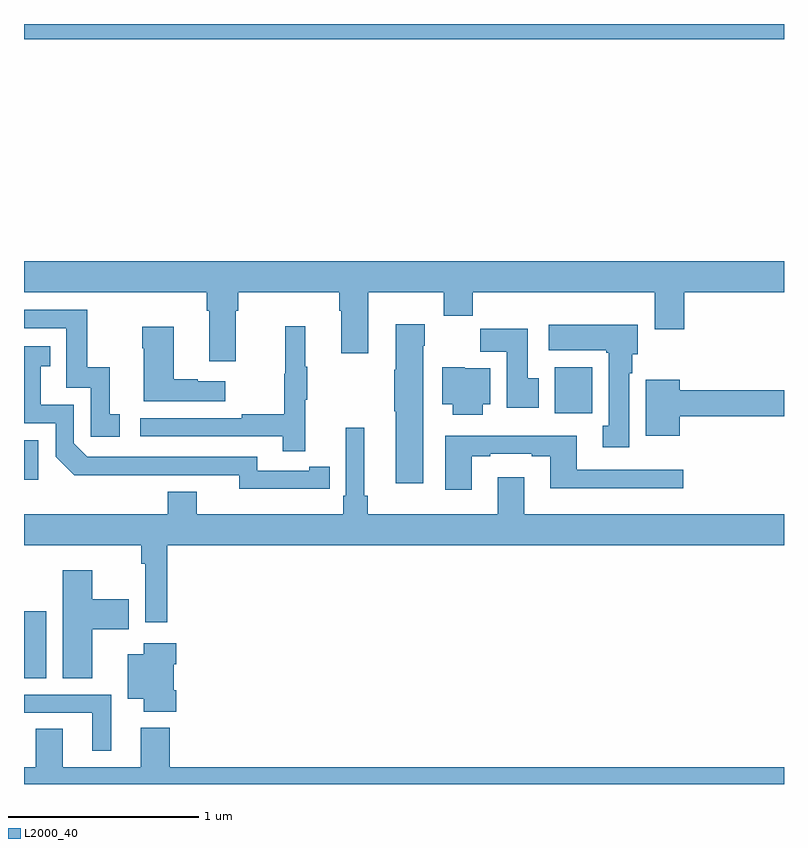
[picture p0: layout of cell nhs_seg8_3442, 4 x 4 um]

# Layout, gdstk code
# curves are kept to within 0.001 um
import gdstk
lib = gdstk.Library(unit=1e-6, precision=1e-09)
def R(c, l, rs):  # rectangles x0, y0, x1, y1
    for r in rs: c.add(gdstk.rectangle(r[:2], r[2:], *l))
def P(c, l, *ps):  # polygons
    for p in ps: c.add(gdstk.Polygon(p, *l))
L2000_40 = (2000, 40)

nhs_seg8_3442 = lib.new_cell('nhs_seg8_3442')
R(nhs_seg8_3442, L2000_40, [(323,1126.456,323.116,1126.81), (323,1127.502,323.076,1127.709), (325.793,1127.852,325.99,1128.094), (323,1129.82,327,1129.9)])
P(nhs_seg8_3442, L2000_40, [(324.115,1128.392),(324.128,1128.392),(324.128,1128.488),(324.659,1128.488),(324.659,1128.392),(324.671,1128.392),(324.671,1128.168),(324.811,1128.168),(324.811,1128.488),(325.21,1128.488),(325.21,1128.364),(325.361,1128.364),(325.361,1128.488),(326.321,1128.488),(326.321,1128.294),(326.474,1128.294),(326.474,1128.488),(327,1128.488),(327,1128.652),(323,1128.652),(323,1128.488),(323.963,1128.488),(323.963,1128.392),(323.975,1128.392),(323.975,1128.126),(324.115,1128.126)],
  [(323.503,1127.847),(323.45,1127.847),(323.45,1128.094),(323.332,1128.094),(323.332,1128.396),(323,1128.396),(323,1128.3),(323.223,1128.3),(323.223,1127.985),(323.352,1127.985),(323.352,1127.727),(323.503,1127.727)],
  [(325.102,1128.206),(325.11,1128.206),(325.11,1128.319),(324.956,1128.319),(324.956,1128.08),(324.949,1128.08),(324.949,1127.863),(324.956,1127.863),(324.956,1127.484),(325.102,1127.484)],
  [(326.185,1128.062),(326.2,1128.062),(326.2,1128.162),(326.23,1128.162),(326.23,1128.316),(325.761,1128.316),(325.761,1128.182),(326.065,1128.182),(326.065,1128.169),(326.078,1128.169),(326.078,1127.786),(326.045,1127.786),(326.045,1127.673),(326.185,1127.673)],
  [(324.479,1127.923),(324.49,1127.923),(324.49,1128.097),(324.479,1128.097),(324.479,1128.31),(324.376,1128.31),(324.376,1128.06),(324.369,1128.06),(324.369,1127.846),(324.145,1127.846),(324.145,1127.826),(323.613,1127.826),(323.613,1127.73),(324.361,1127.73),(324.361,1127.652),(324.479,1127.652)],
  [(324.058,1128.019),(323.915,1128.019),(323.915,1128.029),(323.788,1128.029),(323.788,1128.307),(323.623,1128.307),(323.623,1128.194),(323.63,1128.194),(323.63,1127.915),(324.058,1127.915)],
  [(325.708,1128.036),(325.651,1128.036),(325.651,1128.295),(325.402,1128.295),(325.402,1128.176),(325.541,1128.176),(325.541,1127.88),(325.708,1127.88)],
  [(324.5,1127.454),(324.608,1127.454),(324.608,1127.57),(324.5,1127.57),(324.5,1127.55),(324.228,1127.55),(324.228,1127.622),(323.334,1127.622),(323.262,1127.694),(323.262,1127.895),(323.089,1127.895),(323.089,1128.099),(323.138,1128.099),(323.138,1128.205),(323,1128.205),(323,1127.799),(323.166,1127.799),(323.166,1127.622),(323.264,1127.525),(324.132,1127.526),(324.132,1127.453)],
  [(325.414,1127.9),(325.453,1127.9),(325.453,1128.088),(325.32,1128.088),(325.32,1128.094),(325.202,1128.094),(325.202,1127.9),(325.256,1127.9),(325.256,1127.843),(325.414,1127.843)],
  [(326.452,1127.836),(327,1127.836),(327,1127.972),(326.452,1127.972),(326.452,1128.028),(326.273,1128.028),(326.273,1127.732),(326.452,1127.732)],
  [(323.753,1127.156),(327,1127.156),(327,1127.32),(325.633,1127.32),(325.633,1127.515),(325.493,1127.515),(325.493,1127.32),(324.809,1127.32),(324.809,1127.416),(324.79,1127.416),(324.79,1127.776),(324.693,1127.776),(324.693,1127.416),(324.68,1127.416),(324.68,1127.32),(323.908,1127.32),(323.908,1127.437),(323.756,1127.437),(323.756,1127.32),(323,1127.32),(323,1127.156),(323.617,1127.156),(323.617,1127.06),(323.637,1127.06),(323.637,1126.752),(323.753,1126.752)],
  [(325.357,1127.625),(325.453,1127.625),(325.453,1127.637),(325.673,1127.637),(325.673,1127.625),(325.769,1127.625),(325.769,1127.456),(326.47,1127.456),(326.47,1127.553),(325.909,1127.553),(325.909,1127.734),(325.217,1127.734),(325.217,1127.448),(325.357,1127.448)],
  [(323.359,1126.715),(323.552,1126.715),(323.552,1126.873),(323.359,1126.873),(323.359,1127.026),(323.204,1127.026),(323.204,1126.456),(323.359,1126.456)],
  [(323.801,1126.393),(323.788,1126.393),(323.788,1126.529),(323.801,1126.529),(323.801,1126.642),(323.63,1126.642),(323.63,1126.582),(323.546,1126.582),(323.546,1126.349),(323.63,1126.349),(323.63,1126.281),(323.801,1126.281)],
  [(323.458,1126.371),(323,1126.371),(323,1126.275),(323.36,1126.275),(323.36,1126.074),(323.458,1126.074)],
  [(327,1125.988),(323.768,1125.988),(323.768,1126.195),(323.615,1126.195),(323.615,1125.988),(323.203,1125.988),(323.203,1126.19),(323.063,1126.19),(323.063,1125.988),(323,1125.988),(323,1125.9),(327,1125.9)])

lib.write_gds('nhs_seg8_3442.gds')
